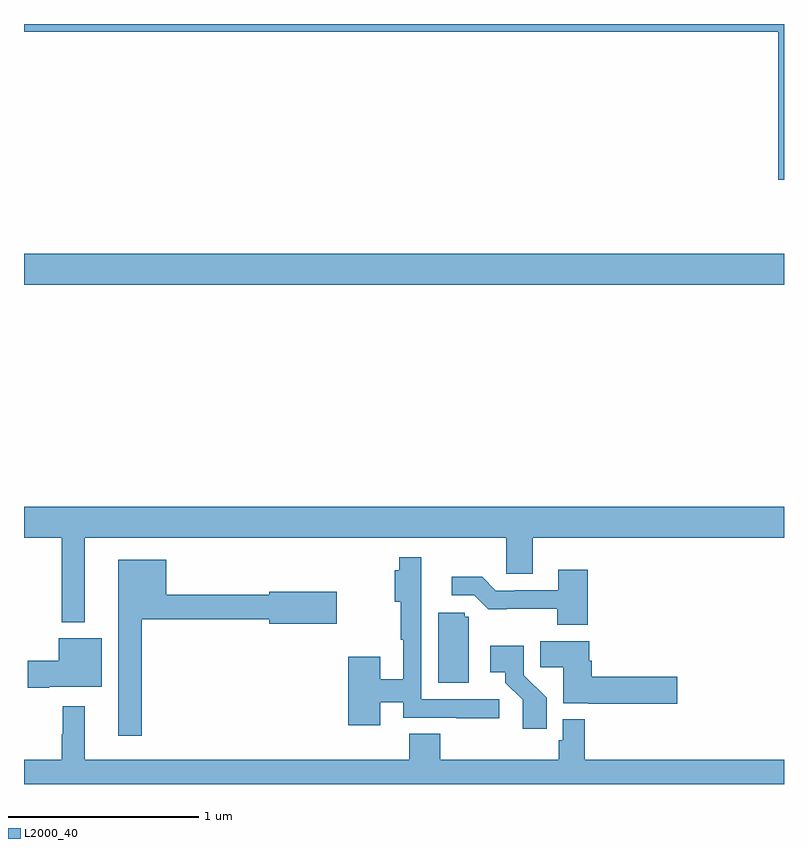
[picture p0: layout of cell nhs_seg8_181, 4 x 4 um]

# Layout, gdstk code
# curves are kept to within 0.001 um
import gdstk
lib = gdstk.Library(unit=1e-6, precision=1e-09)
def R(c, l, rs):  # rectangles x0, y0, x1, y1
    for r in rs: c.add(gdstk.rectangle(r[:2], r[2:], *l))
def P(c, l, *ps):  # polygons
    for p in ps: c.add(gdstk.Polygon(p, *l))
L2000_40 = (2000, 40)

nhs_seg8_181 = lib.new_cell('nhs_seg8_181')
R(nhs_seg8_181, L2000_40, [(123,1088.528,127,1088.692)])
P(nhs_seg8_181, L2000_40, [(127,1089.9),(123,1089.9),(123,1089.86),(126.971,1089.86),(126.971,1089.081),(127,1089.081)],
  [(123.319,1087.196),(125.538,1087.196),(125.538,1087.006),(125.677,1087.006),(125.677,1087.196),(127,1087.196),(127,1087.36),(123,1087.36),(123,1087.196),(123.198,1087.196),(123.198,1086.752),(123.319,1086.752)],
  [(124.876,1086.33),(124.995,1086.33),(124.995,1086.249),(125.275,1086.249),(125.275,1086.247),(125.5,1086.247),(125.5,1086.345),(125.091,1086.345),(125.091,1086.87),(125.092,1086.87),(125.092,1087.093),(124.975,1087.093),(124.975,1087.024),(124.951,1087.024),(124.951,1086.859),(124.983,1086.859),(124.983,1086.658),(124.995,1086.658),(124.995,1086.451),(124.876,1086.451),(124.876,1086.571),(124.706,1086.571),(124.706,1086.21),(124.876,1086.21)],
  [(123.619,1086.766),(124.292,1086.766),(124.292,1086.743),(124.645,1086.743),(124.645,1086.913),(124.292,1086.913),(124.292,1086.895),(123.748,1086.895),(123.748,1087.081),(123.497,1087.081),(123.497,1086.153),(123.619,1086.153)],
  [(125.966,1087.027),(125.813,1087.027),(125.813,1086.921),(125.584,1086.921),(125.584,1086.918),(125.484,1086.918),(125.411,1086.991),(125.25,1086.991),(125.25,1086.894),(125.37,1086.894),(125.443,1086.821),(125.806,1086.822),(125.806,1086.737),(125.966,1086.737)],
  [(125.341,1086.78),(125.319,1086.78),(125.319,1086.801),(125.18,1086.801),(125.18,1086.432),(125.341,1086.432)],
  [(123.133,1086.413),(123.409,1086.413),(123.409,1086.667),(123.182,1086.667),(123.182,1086.548),(123.021,1086.548),(123.021,1086.406),(123.133,1086.406)],
  [(126.439,1086.464),(125.987,1086.464),(125.987,1086.548),(125.974,1086.548),(125.974,1086.652),(125.716,1086.652),(125.716,1086.514),(125.837,1086.514),(125.837,1086.326),(125.97,1086.326),(125.97,1086.322),(126.439,1086.322)],
  [(125.75,1086.354),(125.631,1086.473),(125.631,1086.628),(125.454,1086.628),(125.454,1086.488),(125.534,1086.488),(125.534,1086.433),(125.625,1086.343),(125.625,1086.192),(125.75,1086.192)],
  [(127,1086.028),(125.951,1086.028),(125.951,1086.241),(125.835,1086.241),(125.835,1086.129),(125.815,1086.129),(125.815,1086.028),(125.192,1086.028),(125.192,1086.164),(125.027,1086.164),(125.027,1086.028),(123.319,1086.028),(123.319,1086.31),(123.205,1086.31),(123.205,1086.161),(123.198,1086.161),(123.198,1086.028),(123,1086.028),(123,1085.9),(127,1085.9)])

lib.write_gds('nhs_seg8_181.gds')
